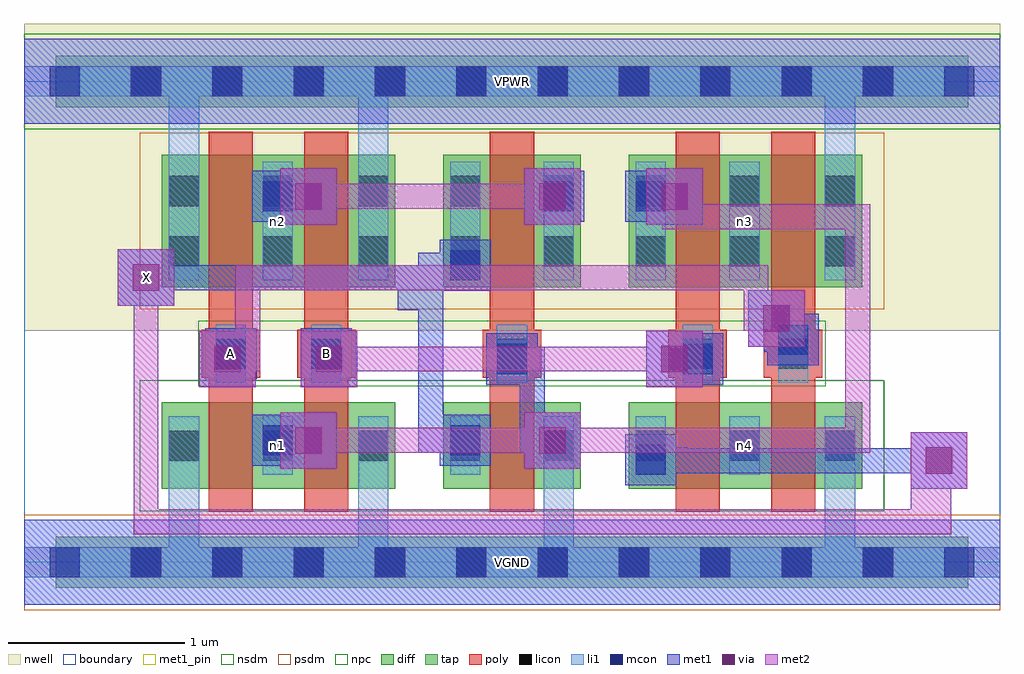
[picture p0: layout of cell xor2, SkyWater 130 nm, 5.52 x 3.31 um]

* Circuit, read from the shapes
.subckt xor2 A B VGND VPWR X n1 n2 n3 n4
XM1 n1 A VGND VGND sky130_fd_pr__nfet_01v8 w=0.49 l=0.25
XM2 VGND B n1 VGND sky130_fd_pr__nfet_01v8 w=0.49 l=0.25
XM3 VGND n1 X VGND sky130_fd_pr__nfet_01v8 w=0.49 l=0.25
XM4 n4 B X VGND sky130_fd_pr__nfet_01v8 w=0.49 l=0.25
XM5 VGND A n4 VGND sky130_fd_pr__nfet_01v8 w=0.49 l=0.25
XM6 n2 A VPWR VPWR sky130_fd_pr__pfet_01v8 w=0.75 l=0.25
XM7 VPWR B n2 VPWR sky130_fd_pr__pfet_01v8 w=0.75 l=0.25
XM8 n2 n1 X VPWR sky130_fd_pr__pfet_01v8 w=0.75 l=0.25
XM9 n3 B n1 VPWR sky130_fd_pr__pfet_01v8 w=0.75 l=0.25
XM10 VPWR A n3 VPWR sky130_fd_pr__pfet_01v8 w=0.75 l=0.25
.ends

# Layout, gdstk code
import gdstk
lib = gdstk.Library(unit=1e-6, precision=1e-09)
def R(c, l, rs):  # rectangles x0, y0, x1, y1
    for r in rs: c.add(gdstk.rectangle(r[:2], r[2:], *l))
def A(c, l, x, y, w, h, nx, ny, dx, dy):  # array of equal rectangles
    R(c, l, [(x+i*dx, y+j*dy, x+i*dx+w, y+j*dy+h) for i in range(nx) for j in range(ny)])
nwell = (64, 20)
diff = (65, 20)
tap = (65, 44)
poly = (66, 20)
licon = (66, 44)
li1 = (67, 20)
mcon = (67, 44)
met1_pin = (68, 16)
met1 = (68, 20)
via = (68, 44)
met2 = (69, 20)
nsdm = (93, 44)
psdm = (94, 20)
npc = (95, 20)
boundary = (235, 4)

xor2 = lib.new_cell('xor2')
R(xor2, nwell, [(0,1.31,5.52,3.045)])
R(xor2, diff, [(0.78,0.415,2.1,0.905), (2.37,0.415,3.15,0.905), (3.42,0.415,4.74,0.905), (0.78,1.555,2.1,2.305), (2.37,1.555,3.15,2.305), (3.42,1.555,4.74,2.305)])
R(xor2, tap, [(0.18,-0.145,5.34,0.145), (0.18,2.575,5.34,2.865)])
A(xor2, poly, 1.585, 0.285, 0.25, 2.15, 3, 1, 1.05, 0)
A(xor2, poly, 1.545, 1.045, 0.33, 0.27, 3, 1, 1.05, 0)
R(xor2, poly, [(1.045,0.285,1.295,2.435), (4.225,0.285,4.475,2.435), (1.005,1.045,1.335,1.315), (4.185,1.045,4.515,1.315)])
A(xor2, licon, 0.605, -0.085, 0.17, 0.17, 10, 2, 0.46, 2.72)
A(xor2, licon, 1.625, 1.095, 0.17, 0.17, 3, 1, 1.05, 0)
R(xor2, licon, [(0.82,0.575,0.99,0.745), (1.35,0.575,1.52,0.745), (1.89,0.575,2.06,0.745), (2.41,0.575,2.58,0.745), (2.94,0.575,3.11,0.745), (3.46,0.575,3.63,0.745), (3.99,0.575,4.16,0.745), (4.53,0.575,4.7,0.745), (1.085,1.095,1.255,1.265), (4.265,1.095,4.435,1.265), (0.82,1.675,0.99,1.845), (1.35,1.675,1.52,1.845), (1.89,1.675,2.06,1.845), (2.41,1.675,2.58,1.845), (2.94,1.675,3.11,1.845), (3.46,1.675,3.63,1.845), (3.99,1.675,4.16,1.845), (4.53,1.675,4.7,1.845), (0.82,2.015,0.99,2.185), (1.35,2.015,1.52,2.185), (1.89,2.015,2.06,2.185), (2.41,2.015,2.58,2.185), (2.94,2.015,3.11,2.185), (3.46,2.015,3.63,2.185), (3.99,2.015,4.16,2.185), (4.53,2.015,4.7,2.185)])
A(xor2, li1, 1.625, 1.015, 0.17, 0.33, 3, 1, 1.05, 0)
R(xor2, li1, [(0,-0.085,5.52,0.085), (0.82,-0.085,0.99,0.825), (1.89,-0.085,2.06,0.825), (2.94,-0.085,3.11,0.825), (4.53,-0.085,4.7,0.825), (0.82,0.495,0.99,0.825), (1.35,0.495,1.52,0.825), (1.89,0.495,2.06,0.825), (2.41,0.495,2.58,0.825), (2.94,0.495,3.11,0.825), (3.46,0.495,3.63,0.825), (3.99,0.495,4.16,0.825), (4.53,0.495,4.7,0.825), (1.085,1.015,1.255,1.345), (4.265,1.015,4.435,1.345), (0.82,1.595,0.99,2.265), (0.82,1.595,0.99,2.805), (1.35,1.595,1.52,2.265), (1.89,1.595,2.06,2.265), (1.89,1.595,2.06,2.805), (2.41,1.595,2.58,2.265), (2.94,1.595,3.11,2.265), (3.46,1.595,3.63,2.265), (3.99,1.595,4.16,2.265), (4.53,1.595,4.7,2.265), (4.53,1.595,4.7,2.805), (0,2.635,5.52,2.805)])
A(xor2, mcon, 0.145, -0.085, 0.17, 0.17, 12, 2, 0.46, 2.72)
R(xor2, mcon, [(3.46,0.495,3.63,0.665), (1.35,0.605,1.52,0.775), (2.41,0.605,2.58,0.775), (2.675,1.065,2.845,1.235), (3.725,1.065,3.895,1.235), (1.085,1.095,1.255,1.265), (1.625,1.095,1.795,1.265), (4.265,1.175,4.435,1.345), (2.41,1.595,2.58,1.765), (1.35,1.985,1.52,2.155), (2.94,1.985,3.11,2.155), (3.46,1.985,3.63,2.155)])
R(xor2, met1_pin, [(0,-0.24,5.52,0.24), (1.025,1.035,1.315,1.325), (1.565,1.035,1.855,1.325), (0.53,1.45,0.85,1.77), (0,2.48,5.52,2.96)])
R(xor2, met1, [(0,-0.24,5.52,0.24), (5.015,0.415,5.335,0.735), (3.4,0.435,3.69,0.725), (3.61,0.505,3.75,0.65), (3.61,0.505,5.245,0.645), (3.475,0.51,3.75,0.65), (1.45,0.53,1.77,0.85), (2.83,0.53,3.15,0.85), (1.29,0.545,1.58,0.835), (2.35,0.545,2.64,0.835), (1.365,0.62,1.68,0.76), (2.23,0.62,2.565,0.76), (2.23,0.62,2.37,1.565), (2.805,0.62,3.06,0.76), (2.805,0.62,2.945,1.22), (0.99,0.99,1.31,1.31), (1.565,0.99,1.885,1.31), (3.52,0.99,3.84,1.31), (2.615,1.005,2.905,1.295), (3.665,1.005,3.955,1.295), (1.025,1.035,1.315,1.325), (1.565,1.035,1.855,1.325), (1.08,1.08,1.22,1.22), (1.655,1.08,1.795,1.22), (2.69,1.08,2.945,1.22), (3.61,1.08,3.88,1.22), (4.205,1.115,4.495,1.405), (4.185,1.19,4.42,1.33), (4.185,1.19,4.325,1.45), (4.095,1.22,4.415,1.54), (2.115,1.425,2.37,1.565), (2.115,1.425,2.255,1.68), (2.23,1.425,2.37,1.75), (0.53,1.45,0.85,1.77), (2.35,1.535,2.64,1.825), (0.62,1.54,2.255,1.68), (2.23,1.61,2.565,1.75), (1.45,1.91,1.77,2.23), (2.83,1.91,3.15,2.23), (3.52,1.91,3.84,2.23), (1.29,1.925,1.58,2.215), (2.88,1.925,3.17,2.215), (3.4,1.925,3.69,2.215), (1.365,2,1.68,2.14), (2.92,2,3.095,2.14), (3.475,2,3.75,2.14), (0,2.48,5.52,2.96)])
R(xor2, via, [(5.1,0.5,5.25,0.65), (1.535,0.615,1.685,0.765), (2.915,0.615,3.065,0.765), (1.075,1.075,1.225,1.225), (1.65,1.075,1.8,1.225), (3.605,1.075,3.755,1.225), (4.18,1.305,4.33,1.455), (0.615,1.535,0.765,1.685), (1.535,1.995,1.685,2.145), (2.915,1.995,3.065,2.145), (3.605,1.995,3.755,2.145)])
R(xor2, met2, [(0.62,0.16,0.76,1.68), (0.62,0.16,5.245,0.3), (5.105,0.16,5.245,0.645), (5.015,0.3,5.245,0.415), (5.015,0.415,5.335,0.735), (1.45,0.53,1.77,0.85), (2.83,0.53,3.15,0.85), (1.54,0.62,3.06,0.76), (2.92,0.62,4.785,0.76), (4.645,0.62,4.785,2.025), (0.99,0.99,1.31,1.31), (1.565,0.99,1.885,1.31), (3.52,0.99,3.84,1.31), (1.08,1.08,1.335,1.22), (1.195,1.08,1.335,1.68), (1.655,1.08,3.75,1.22), (4.095,1.22,4.415,1.54), (4.07,1.31,4.325,1.45), (4.07,1.31,4.21,1.68), (0.53,1.45,0.85,1.77), (1.195,1.54,4.21,1.68), (3.61,1.885,4.785,2.025), (3.61,1.885,3.75,2.14), (1.45,1.91,1.77,2.23), (2.83,1.91,3.15,2.23), (3.52,1.91,3.84,2.23), (1.54,2,3.06,2.14)])
R(xor2, nsdm, [(0.655,0.29,4.865,1.03), (0,2.45,5.52,2.99)])
R(xor2, psdm, [(0,-0.27,5.52,0.27), (0.655,1.43,4.865,2.43)])
R(xor2, npc, [(0.985,0.995,4.535,1.365)])
R(xor2, boundary, [(0,0,5.52,2.72)])
xor2.add(gdstk.Label('n1', (1.435,0.66), layer=67, texttype=5))
xor2.add(gdstk.Label('n4', (4.075,0.66), layer=67, texttype=5))
xor2.add(gdstk.Label('n2', (1.435,1.93), layer=67, texttype=5))
xor2.add(gdstk.Label('n3', (4.075,1.93), layer=67, texttype=5))
xor2.add(gdstk.Label('A', (1.17,1.18), layer=68, texttype=5))
xor2.add(gdstk.Label('B', (1.71,1.18), layer=68, texttype=5))
xor2.add(gdstk.Label('X', (0.69,1.61), layer=68, texttype=5))
xor2.add(gdstk.Label('VPWR', (2.76,2.72), layer=68, texttype=5))
xor2.add(gdstk.Label('VGND', (2.76,0), layer=68, texttype=5))
xor2.add(gdstk.Label('A', (1.17,1.18), layer=68, texttype=16))
xor2.add(gdstk.Label('B', (1.71,1.18), layer=68, texttype=16))
xor2.add(gdstk.Label('X', (0.69,1.61), layer=68, texttype=16))
xor2.add(gdstk.Label('VPWR', (2.76,2.72), layer=68, texttype=16))
xor2.add(gdstk.Label('VGND', (2.76,0), layer=68, texttype=16))

lib.write_gds('xor2.gds')
